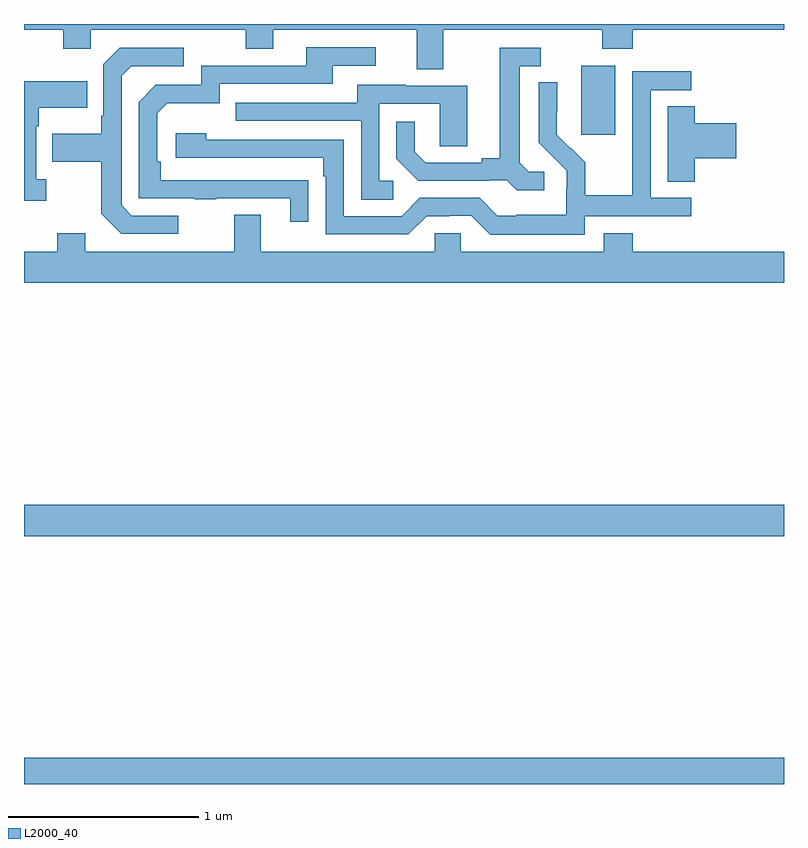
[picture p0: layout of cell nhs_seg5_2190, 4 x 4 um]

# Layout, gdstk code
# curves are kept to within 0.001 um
import gdstk
lib = gdstk.Library(unit=1e-6, precision=1e-09)
def R(c, l, rs):  # rectangles x0, y0, x1, y1
    for r in rs: c.add(gdstk.rectangle(r[:2], r[2:], *l))
def P(c, l, *ps):  # polygons
    for p in ps: c.add(gdstk.Polygon(p, *l))
L2000_40 = (2000, 40)

nhs_seg5_2190 = lib.new_cell('nhs_seg5_2190')
R(nhs_seg5_2190, L2000_40, [(239,844.799,243,844.936), (239,846.104,243,846.268), (241.934,848.217,242.113,848.578)])
P(nhs_seg5_2190, L2000_40, [(241.207,848.768),(242.044,848.768),(242.044,848.669),(242.204,848.669),(242.204,848.768),(243,848.768),(243,848.799),(239,848.799),(239,848.768),(239.206,848.768),(239.206,848.669),(239.352,848.669),(239.352,848.768),(240.166,848.768),(240.166,848.669),(240.313,848.669),(240.313,848.768),(241.067,848.768),(241.067,848.56),(241.207,848.56)],
  [(240.497,847.976),(239.72,847.977),(239.72,848.074),(239.7,848.074),(239.7,848.328),(239.753,848.381),(240.03,848.381),(240.03,848.484),(240.625,848.484),(240.625,848.58),(240.85,848.58),(240.85,848.676),(240.485,848.676),(240.485,848.58),(239.934,848.58),(239.934,848.478),(239.694,848.478),(239.604,848.388),(239.604,847.881),(239.899,847.881),(239.899,847.876),(240.011,847.876),(240.011,847.881),(240.401,847.881),(240.401,847.758),(240.497,847.758)],
  [(241.738,848.022),(241.656,848.022),(241.609,848.069),(241.609,848.577),(241.72,848.577),(241.72,848.673),(241.505,848.673),(241.505,848.093),(241.409,848.093),(241.409,848.07),(241.114,848.07),(241.057,848.127),(241.057,848.284),(240.96,848.284),(240.96,848.09),(241.076,847.974),(241.448,847.974),(241.448,847.977),(241.542,847.977),(241.594,847.925),(241.738,847.925)],
  [(239.812,847.791),(239.568,847.791),(239.514,847.845),(239.514,848.526),(239.565,848.577),(239.842,848.577),(239.842,848.673),(239.505,848.673),(239.418,848.586),(239.418,848.317),(239.406,848.317),(239.406,848.221),(239.149,848.221),(239.149,848.074),(239.406,848.074),(239.406,847.801),(239.511,847.695),(239.812,847.695)],
  [(241.95,847.788),(242.512,847.788),(242.512,847.884),(242.298,847.884),(242.298,848.451),(242.512,848.451),(242.512,848.55),(242.202,848.55),(242.202,848.12),(242.2,848.12),(242.2,847.897),(241.955,847.897),(241.955,848.071),(241.878,848.148),(241.875,848.145),(241.805,848.216),(241.806,848.492),(241.71,848.492),(241.71,848.174),(241.856,848.026),(241.856,847.929),(241.854,847.929),(241.854,847.795),(241.591,847.795),(241.591,847.791),(241.491,847.791),(241.398,847.884),(241.083,847.884),(240.987,847.788),(240.684,847.788),(240.684,848.19),(239.96,848.19),(239.96,848.224),(239.799,848.224),(239.799,848.094),(240.575,848.094),(240.575,847.997),(240.588,847.997),(240.588,847.692),(241.023,847.692),(241.119,847.788),(241.238,847.788),(241.238,847.791),(241.353,847.791),(241.453,847.691),(241.95,847.691)],
  [(239.116,847.982),(239.064,847.982),(239.064,848.261),(239.077,848.261),(239.077,848.357),(239.333,848.357),(239.333,848.497),(239,848.497),(239,847.869),(239.116,847.869)],
  [(240.943,847.974),(240.87,847.974),(240.87,848.379),(241.188,848.379),(241.188,848.155),(241.333,848.155),(241.333,848.475),(241.009,848.475),(241.009,848.479),(240.755,848.479),(240.755,848.385),(240.115,848.385),(240.115,848.289),(240.774,848.289),(240.774,847.873),(240.943,847.873)],
  [(242.531,848.093),(242.749,848.093),(242.749,848.276),(242.531,848.276),(242.531,848.366),(242.387,848.366),(242.387,847.969),(242.531,847.969)],
  [(243,847.6),(242.204,847.6),(242.204,847.699),(242.051,847.699),(242.051,847.6),(241.299,847.6),(241.299,847.698),(241.161,847.698),(241.161,847.6),(240.247,847.6),(240.247,847.795),(240.107,847.795),(240.107,847.6),(239.323,847.6),(239.323,847.699),(239.176,847.699),(239.176,847.6),(239,847.6),(239,847.436),(243,847.436)])

lib.write_gds('nhs_seg5_2190.gds')
